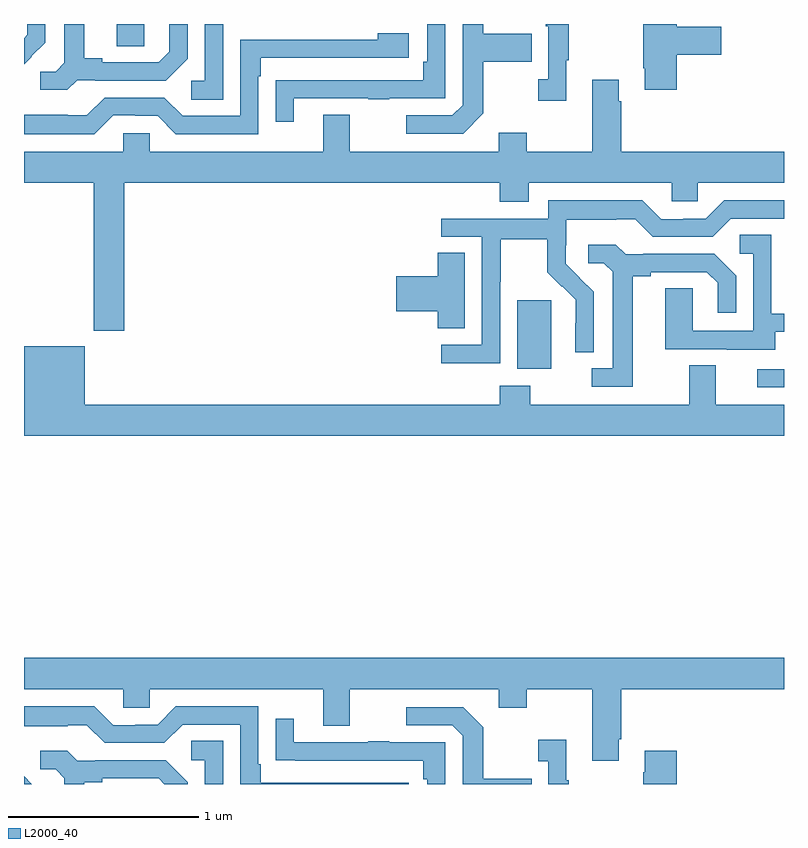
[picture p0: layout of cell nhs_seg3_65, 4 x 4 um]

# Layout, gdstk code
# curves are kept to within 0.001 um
import gdstk
lib = gdstk.Library(unit=1e-6, precision=1e-09)
def R(c, l, rs):  # rectangles x0, y0, x1, y1
    for r in rs: c.add(gdstk.rectangle(r[:2], r[2:], *l))
def P(c, l, *ps):  # polygons
    for p in ps: c.add(gdstk.Polygon(p, *l))
L2000_40 = (2000, 40)

nhs_seg3_65 = lib.new_cell('nhs_seg3_65')
R(nhs_seg3_65, L2000_40, [(116.859,718.488,117,718.584), (115.595,718.586,115.774,718.947), (113.489,720.283,113.634,720.4)])
P(nhs_seg3_65, L2000_40, [(113.28,720.105),(113.374,720.105),(113.374,720.102),(113.746,720.102),(113.862,720.218),(113.862,720.4),(113.765,720.4),(113.765,720.255),(113.708,720.198),(113.413,720.198),(113.413,720.221),(113.317,720.221),(113.317,720.4),(113.213,720.4),(113.213,720.197),(113.166,720.15),(113.085,720.15),(113.085,720.053),(113.228,720.053)],
  [(115.417,719.929),(115.417,720.202),(115.673,720.202),(115.673,720.349),(115.417,720.349),(115.417,720.4),(115.308,720.4),(115.308,719.973),(115.254,719.919),(115.011,719.919),(115.011,719.823),(115.311,719.823)],
  [(114.421,720.009),(114.811,720.009),(114.811,720.004),(114.923,720.004),(114.923,720.009),(115.218,720.009),(115.218,720.4),(115.122,720.4),(115.122,720.202),(115.102,720.202),(115.102,720.105),(114.427,720.105),(114.427,720.104),(114.325,720.104),(114.325,719.886),(114.421,719.886)],
  [(116.435,720.239),(116.671,720.239),(116.671,720.386),(116.435,720.386),(116.435,720.4),(116.26,720.4),(116.26,720.166),(116.267,720.166),(116.267,720.054),(116.435,720.054)],
  [(113.04,720.228),(113.039,720.229),(113.112,720.302),(113.112,720.4),(113.018,720.4),(113.018,720.344),(113,720.326),(113,720.188)],
  [(115.855,720.209),(115.867,720.209),(115.867,720.4),(115.746,720.4),(115.746,720.389),(115.758,720.389),(115.758,720.11),(115.707,720.11),(115.707,719.997),(115.855,719.997)],
  [(114.048,720.4),(113.952,720.4),(113.952,720.102),(113.88,720.102),(113.88,720.001),(114.048,720.001)],
  [(113.469,719.919),(113.585,719.919),(113.585,719.916),(113.703,719.916),(113.799,719.82),(114.234,719.82),(114.234,720.125),(114.247,720.125),(114.247,720.222),(115.024,720.222),(115.024,720.352),(114.863,720.352),(114.863,720.318),(114.138,720.318),(114.138,719.916),(113.835,719.916),(113.739,720.012),(113.424,720.012),(113.331,719.919),(113.231,719.919),(113.231,719.923),(113,719.923),(113,719.819),(113.369,719.819)],
  [(113.528,719.564),(115.505,719.564),(115.505,719.465),(115.657,719.465),(115.657,719.564),(116.409,719.564),(116.409,719.466),(116.547,719.466),(116.547,719.564),(117,719.564),(117,719.728),(116.144,719.728),(116.144,719.993),(116.131,719.993),(116.131,720.106),(115.991,720.106),(115.991,719.728),(115.647,719.728),(115.647,719.827),(115.499,719.827),(115.499,719.728),(114.715,719.728),(114.715,719.923),(114.575,719.923),(114.575,719.728),(113.661,719.728),(113.661,719.826),(113.523,719.826),(113.523,719.728),(113,719.728),(113,719.564),(113.368,719.564),(113.368,718.785),(113.528,718.785)],
  [(115.506,719.044),(115.509,719.044),(115.509,719.268),(115.753,719.268),(115.753,719.093),(115.83,719.016),(115.833,719.019),(115.904,718.949),(115.904,718.826),(115.902,718.826),(115.902,718.672),(115.998,718.672),(115.998,718.99),(115.852,719.138),(115.852,719.235),(115.854,719.235),(115.854,719.369),(116.117,719.369),(116.117,719.373),(116.217,719.373),(116.31,719.28),(116.625,719.28),(116.721,719.376),(117,719.376),(117,719.472),(116.685,719.472),(116.589,719.376),(116.471,719.376),(116.471,719.373),(116.355,719.373),(116.255,719.473),(115.758,719.473),(115.758,719.376),(115.197,719.376),(115.197,719.28),(115.41,719.28),(115.41,718.713),(115.197,718.713),(115.197,718.615),(115.506,718.615)],
  [(116.953,718.779),(117,718.779),(117,718.875),(116.934,718.875),(116.934,719.291),(116.766,719.291),(116.766,719.19),(116.838,719.19),(116.838,718.785),(116.52,718.785),(116.52,719.009),(116.375,719.009),(116.375,718.689),(116.699,718.689),(116.699,718.685),(116.953,718.685)],
  [(116.203,719.072),(116.299,719.072),(116.299,719.094),(116.594,719.094),(116.651,719.037),(116.651,718.881),(116.748,718.881),(116.748,719.074),(116.632,719.19),(116.26,719.19),(116.26,719.187),(116.166,719.187),(116.114,719.239),(115.971,719.239),(115.971,719.142),(116.052,719.142),(116.099,719.095),(116.099,718.587),(115.989,718.587),(115.989,718.491),(116.203,718.491)],
  [(115.321,719.195),(115.178,719.195),(115.178,719.072),(114.96,719.072),(114.96,718.889),(115.178,718.889),(115.178,718.798),(115.321,718.798)],
  [(117,718.396),(116.641,718.396),(116.641,718.604),(116.501,718.604),(116.501,718.396),(115.665,718.396),(115.665,718.495),(115.505,718.495),(115.505,718.396),(113.32,718.396),(113.32,718.705),(113,718.705),(113,718.232),(117,718.232)],
  [(116.131,716.635),(116.144,716.635),(116.144,716.9),(117,716.9),(117,717.064),(113,717.064),(113,716.9),(113.523,716.9),(113.523,716.802),(113.661,716.802),(113.661,716.9),(114.575,716.9),(114.575,716.706),(114.715,716.706),(114.715,716.9),(115.499,716.9),(115.499,716.801),(115.647,716.801),(115.647,716.9),(115.991,716.9),(115.991,716.523),(116.131,716.523)],
  [(115.024,716.406),(114.247,716.406),(114.247,716.503),(114.234,716.503),(114.234,716.808),(113.799,716.808),(113.703,716.712),(113.585,716.712),(113.585,716.709),(113.469,716.709),(113.369,716.809),(113,716.809),(113,716.705),(113.231,716.705),(113.231,716.709),(113.331,716.709),(113.424,716.616),(113.739,716.616),(113.835,716.712),(114.138,716.712),(114.138,716.4),(115.024,716.4)],
  [(115.673,716.427),(115.417,716.427),(115.417,716.699),(115.311,716.805),(115.011,716.805),(115.011,716.709),(115.254,716.709),(115.308,716.655),(115.308,716.4),(115.673,716.4)],
  [(115.218,716.619),(114.923,716.619),(114.923,716.624),(114.811,716.624),(114.811,716.619),(114.421,716.619),(114.421,716.743),(114.325,716.743),(114.325,716.524),(114.427,716.524),(114.427,716.523),(115.102,716.523),(115.102,716.426),(115.122,716.426),(115.122,716.4),(115.218,716.4)],
  [(115.867,716.419),(115.855,716.419),(115.855,716.632),(115.707,716.632),(115.707,716.519),(115.758,716.519),(115.758,716.4),(115.867,716.4)],
  [(114.048,716.627),(113.88,716.627),(113.88,716.526),(113.952,716.526),(113.952,716.4),(114.048,716.4)],
  [(116.435,716.575),(116.267,716.575),(116.267,716.462),(116.26,716.462),(116.26,716.4),(116.435,716.4)],
  [(113.317,716.408),(113.413,716.408),(113.413,716.43),(113.708,716.43),(113.738,716.4),(113.862,716.4),(113.862,716.41),(113.746,716.526),(113.374,716.526),(113.374,716.523),(113.28,716.523),(113.228,716.575),(113.085,716.575),(113.085,716.478),(113.166,716.478),(113.213,716.431),(113.213,716.4),(113.317,716.4)],
  [(113,716.44),(113,716.4),(113.04,716.4)])

lib.write_gds('nhs_seg3_65.gds')
